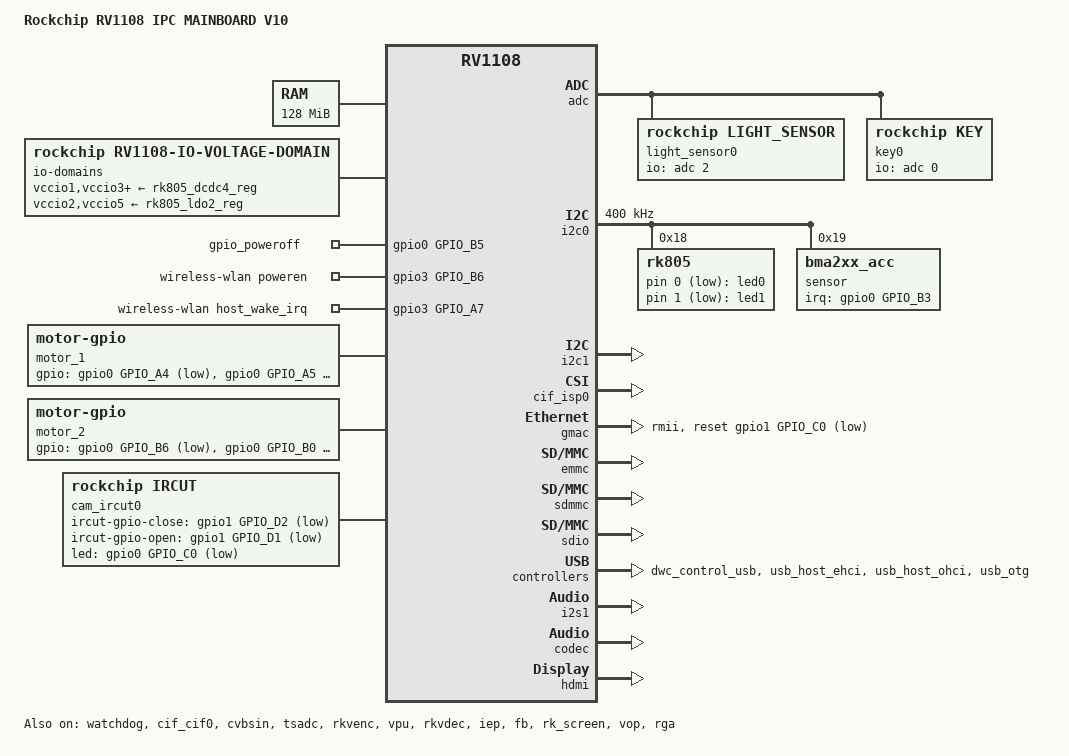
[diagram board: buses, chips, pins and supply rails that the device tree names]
/*
 * Copyright (c) 2016 Fuzhou Rockchip Electronics Co., Ltd
 *
 * This file is dual-licensed: you can use it either under the terms
 * of the GPL or the X11 license, at your option. Note that this dual
 * licensing only applies to this file, and not this project as a
 * whole.
 *
 *  a) This file is free software; you can redistribute it and/or
 *     modify it under the terms of the GNU General Public License as
 *     published by the Free Software Foundation; either version 2 of the
 *     License, or (at your option) any later version.
 *
 *     This file is distributed in the hope that it will be useful,
 *     but WITHOUT ANY WARRANTY; without even the implied warranty of
 *     MERCHANTABILITY or FITNESS FOR A PARTICULAR PURPOSE.  See the
 *     GNU General Public License for more details.
 *
 * Or, alternatively,
 *
 *  b) Permission is hereby granted, free of charge, to any person
 *     obtaining a copy of this software and associated documentation
 *     files (the "Software"), to deal in the Software without
 *     restriction, including without limitation the rights to use,
 *     copy, modify, merge, publish, distribute, sublicense, and/or
 *     sell copies of the Software, and to permit persons to whom the
 *     Software is furnished to do so, subject to the following
 *     conditions:
 *
 *     The above copyright notice and this permission notice shall be
 *     included in all copies or substantial portions of the Software.
 *
 *     THE SOFTWARE IS PROVIDED "AS IS", WITHOUT WARRANTY OF ANY KIND,
 *     EXPRESS OR IMPLIED, INCLUDING BUT NOT LIMITED TO THE WARRANTIES
 *     OF MERCHANTABILITY, FITNESS FOR A PARTICULAR PURPOSE AND
 *     NONINFRINGEMENT. IN NO EVENT SHALL THE AUTHORS OR COPYRIGHT
 *     HOLDERS BE LIABLE FOR ANY CLAIM, DAMAGES OR OTHER LIABILITY,
 *     WHETHER IN AN ACTION OF CONTRACT, TORT OR OTHERWISE, ARISING
 *     FROM, OUT OF OR IN CONNECTION WITH THE SOFTWARE OR THE USE OR
 *     OTHER DEALINGS IN THE SOFTWARE.
 */

/dts-v1/;

#include "rv1108.dtsi"
//#include "lcd-ili9806e_mipi.dtsi" /* dispaly board v10 v11 */
//#include "lcd-e555hbm2_mipi.dtsi" /* display board v20*/
//#include "lcd-ili9807_mipi.dtsi" /* display board v30 */
#include "lcd_dummy_mipi.dtsi" /* dummy mipi for rv1108 */
#include "dt-bindings/suspend/rockchip-pm.h"

/ {
	model = "Rockchip RV1108 IPC MAINBOARD V10";
	compatible = "rockchip,rv1108-ipc-v10", "rockchip,rv1108";

	memory {
		device_type = "memory";
		reg = <0x60000000 0x08000000>;
	};

	fiq-debugger {
		status = "okay";
		rockchip,serial-id = <2>;
		pinctrl-0 = <&uart2m0_xfer>;
	};

	rockchip_suspend: rockchip_suspend {
		rockchip,ctrbits = <
			(0
			|RKPM_CTR_GTCLKS
			|RKPM_CTR_PLLS
			/*|RKPM_CTR_ARMOFF_LPMD*/
			|RKPM_CTR_ARMLOGDP_LPMD
			/*|RKPM_CTR_IDLESRAM_MD*/
			|RKPM_CTR_DDR
			|RKPM_CTR_PMIC
			/*|RKPM_CTR_BUS_IDLE*/
			|RKPM_CTR_SYSCLK_32K
			)
			>;
		rockchip,pmic-suspend_gpios = <0>;
	};

	chosen {
		bootargs = "rockchip_jtag noinitrd root=/dev/mmcblk0p4 rootfstype=squashfs";
	};

	ion {
		compatible = "rockchip,ion";
		#address-cells = <1>;
		#size-cells = <0>;

		/* memory region for dsp pool, start from 0x62000000 */
		dsp {
			compatible = "rockchip,ion-heap";
			rockchip,ion_heap = <2>;
			reg = <0x62000000 0x100000>; /* 1MB@32M */
		};
		ion_cma: rockchip,ion-heap@4 { /* CMA HEAP */
			compatible = "rockchip,ion-heap";
			rockchip,ion_heap = <4>;
			reg = <0x00000000 0x04000000>; /* 64MB */
		};
		rockchip,ion-heap@0 { /* VMALLOC HEAP */
			compatible = "rockchip,ion-heap";
			rockchip,ion_heap = <0>;
		};
	};

	io-domains {
		compatible = "rockchip,rv1108-io-voltage-domain";
		rockchip,grf = <&grf>;
		rockchip,pmugrf = <&pmugrf>;

		/* GRF_IO_VSEL */
		status = "okay";
		vccio1-supply = <&rk805_dcdc4_reg>;
		vccio2-supply = <&rk805_ldo2_reg>;
		vccio3-supply = <&rk805_dcdc4_reg>;
		vccio5-supply = <&rk805_ldo2_reg>;

		/* PMU_GRF_IO_VSEL */
		pmu-supply = <&rk805_dcdc4_reg>;
	};

	/* pmic_sleep */
	gpio_poweroff {
		compatible = "gpio-poweroff";
		gpios = <&gpio0 GPIO_B5 GPIO_ACTIVE_HIGH>;
		status = "okay";
	};

	wireless-wlan {
		compatible = "wlan-platdata";
		wifi_chip_type = "rtl8723cs";
		sdio_vref = <0>;
		WIFI,poweren_gpio = <&gpio3 GPIO_B6 GPIO_ACTIVE_HIGH>;
		WIFI,host_wake_irq = <&gpio3 GPIO_A7 GPIO_ACTIVE_HIGH>;
		status = "okay";
	};

	rockchip_audio {
		compatible = "rockchip,rv1108-audio";
		dais {
			dai0 {
				audio-codec = <&codec>;
				audio-controller = <&i2s1>;
				format = "i2s";
			};
		};
	};

	motor_1 {
		compatible = "motor-gpio";
		gpios = <&gpio0 GPIO_A4 GPIO_ACTIVE_LOW>,
				<&gpio0 GPIO_A5 GPIO_ACTIVE_LOW>,
				<&gpio0 GPIO_A6 GPIO_ACTIVE_LOW>,
				<&gpio0 GPIO_A7 GPIO_ACTIVE_LOW>;
		rockchip,motor-id = <1>;
		status = "okay";
	};

	motor_2 {
		compatible = "motor-gpio";
		gpios = <&gpio0 GPIO_B6 GPIO_ACTIVE_LOW>,
				<&gpio0 GPIO_B0 GPIO_ACTIVE_LOW>,
				<&gpio0 GPIO_C3 GPIO_ACTIVE_LOW>,
				<&gpio0 GPIO_C5 GPIO_ACTIVE_LOW>;
		rockchip,motor-id = <2>;
		status = "okay";
	};

	ipc_leds {
		compatible = "gpio-leds";
		led0 {
			label = "led0";
			gpios = <&rk805 0 GPIO_ACTIVE_LOW>;
			default-state = "off";
		};
		led1 {
			label = "led1";
			gpios = <&rk805 1 GPIO_ACTIVE_LOW>;
			default-state = "off";
		};
	};
};

/*
 * clk_mac_pll can be selected from apll/gpll.
 *
 * to use one of these, we should modify
 * 'rockchip,clocks-init-parent' and
 * 'rockchip,clocks-init-rate' as follows:
 *
 * from apll:
 * 1, <&clk_mac_pll &clk_apll>;
 *
 * from gpll:
 * 1, <&clk_mac_pll &clk_gpll>;
 * 2, <&clk_gpll 1200000000>
 *
 * note:
 * if gpll use 1200Mhz, hdmi function is unable to used
 * and should be disabled.
 */
&rockchip_clocks_init {
	rockchip,clocks-init-parent =
		<&aclk_bus_pre &clk_gpll>, <&aclk_peri &clk_gpll>,
		<&clk_emmc &clk_gpll>, <&clk_sdio &clk_gpll>,
		<&hdmiphy &hdmiphy_pll>, <&usb480m &usbphy_480m>,
		<&clk_mac_pll &clk_apll>;
	rockchip,clocks-init-rate =
		<&clk_gpll 1188000000>, <&clk_core 800000000>,
		<&clk_dsp 396000000>, <&aclk_bus_pre 150000000>,
		<&hclk_bus_pre 150000000>, <&pclk_bus_pre 75000000>,
		<&aclk_peri 150000000>, <&hclk_peri 150000000>,
		<&pclk_peri 75000000>, <&aclk_vio0_pre 300000000>,
		<&aclk_vio1_pre 300000000>, <&hclk_vio_pre 75000000>,
		<&pclk_vio_pre 75000000>, <&aclk_rkvdec_pre 300000000>,
		<&aclk_vpu_pre 300000000>, <&clk_hevc_cabac 300000000>,
		<&clk_hevc_core 300000000>, <&aclk_rkvenc_pre 300000000>,
		<&clk_venc_core 300000000>, <&clk_crypto 150000000>,
		<&clk_nandc 150000000>, <&clk_i2s0_pll 594000000>,
		<&clk_i2s1_pll 594000000>, <&clk_i2s2_pll 594000000>,
		<&clk_uart0_pll 297000000>, <&clk_uart1_pll 297000000>,
		<&clk_uart2_pll 297000000>, <&clk_rga 300000000>;
};

&clk_core_dvfs_table {

	operating-points = <
		/* KHz	  uV */
		408000 1000000
		600000 1000000
		816000 1000000
		1008000 1150000
		>;
	status = "disabled";
};

&watchdog {
	status = "okay";
	rockchip,timeout = <5>;
	rockchip,atboot = <0>;
};

&adc {
	status = "okay";

	light_sensor0: light_sensor {
		compatible = "rockchip,light_sensor";
		io-channels = <&adc 2>;
	};

	key0 {
		compatible = "rockchip,key";
		io-channels = <&adc 0>;
		adc-drift = <45>;

		tab-key {
			linux,code = <15>;
			label = "tab";
			rockchip,adc_value = <685>;
		};

		enter-key {
			linux,code = <28>;
			label = "volume down";
			rockchip,adc_value = <802>;
		};

		up-key {
			linux,code = <103>;
			label = "up";
			rockchip,adc_value = <238>;
		};

		down-key {
			linux,code = <108>;
			label = "down";
			rockchip,adc_value = <353>;
		};

		left-key {
			linux,code = <105>;
			label = "left";
			rockchip,adc_value = <465>;
		};

		right-key {
			linux,code = <106>;
			label = "right";
			rockchip,adc_value = <109>;
		};

		menu-key {
			linux,code = <127>;
			label = "menu";
			rockchip,adc_value = <581>;
		};

		esc-key {
			linux,code = <1>;
			label = "esc";
			rockchip,adc_value = <1>;
		};
	};
};

&i2c0 {
	status = "okay";

	i2c-scl-rising-time-ns = <275>;
	i2c-scl-falling-time-ns = <16>;
	clock-frequency = <400000>;

	rk805: rk805@18 {
		reg = <0x18>;
		status = "okay";
	};

	sensor: sensor@19 {
		compatible = "bma2xx_acc";
		reg = <0x19>;
		type = <2>;
		irq-gpio = <&gpio0 GPIO_B3 IRQ_TYPE_LEVEL_HIGH>;
		irq_enable = <0>;
		poll_delay_ms = <30>;
		layout = <2>;
		status = "okay";
	};

	nvp6124: nvp6124@30 {
		status = "disabled";
		compatible = "rockchip,nvp";
		reg = <0x30>;
		device_type = "v4l2-i2c-subdev";
		/* 1 or 2 or 4 */
		channels = <4>;
		/* 1.8v or 3.3v */
		apio_vol = <3300>;
		/* PAL or NTSC */
		cvbs_mode = "PAL";
		reset-gpio = <&gpio3 GPIO_C6 GPIO_ACTIVE_LOW>;
		irq-gpio = <&gpio3 GPIO_D3 GPIO_ACTIVE_HIGH>;
		pinctrl-names = "default", "sleep";
		pinctrl-0 = <&cif_dvp_d2d9 &cif_dvp_clk_in>;
		pinctrl-1 = <&cif_dvp_d2d9_sleep &cif_dvp_clk_in_sleep>;
	};

	mpu6500: mpu6500@68 {
		status = "disabled";
		compatible = "invensense,mpu6500";
		reg = <0x68>;
		mpu-int_config = <0x10>;
		mpu-level_shifter = <0>;
		mpu-orientation = <1 0 0 0 1 0 0 0 1>;
		orientation-x= <1>;
		orientation-y= <1>;
		orientation-z= <0>;
		support-hw-poweroff = <1>;
		mpu-debug = <1>;
	};
};

&i2c1 {
	status = "okay";

//#include "rv1108-camb-v11.dtsi" /* camera board v11 */
//#include "rv1108-camb-v12.dtsi" /* camera board v12 */
#include "rv1108-camb-v13.dtsi" /* camera board v13 */
};

/ {
	cam_ircut0: cam_ircut {
		status = "okay";
		compatible = "rockchip,ircut";
		rockchip,ircut-gpio-close = <&gpio1 GPIO_D2 GPIO_ACTIVE_LOW>;
		rockchip,ircut-gpio-open  = <&gpio1 GPIO_D1 GPIO_ACTIVE_LOW>;
		rockchip,led              = <&gpio0 GPIO_C0 GPIO_ACTIVE_LOW>;
	};
};

&camera0 {
	rockchip,camera-ircut = <&cam_ircut0>;
	rockchip,camera-ls = <&light_sensor0>;
	rockchip,camera-ls-range = <0 700 800 1024>;
};

&camera1 {
	rockchip,camera-ircut = <&cam_ircut0>;
	rockchip,camera-ls = <&light_sensor0>;
	rockchip,camera-ls-range = <0 700 800 1024>;
};

&camera2 {
	rockchip,camera-ircut = <&cam_ircut0>;
	rockchip,camera-ls = <&light_sensor0>;
	rockchip,camera-ls-range = <0 700 800 1024>;
};

&cif1to4 {
	status = "disabled";
};

&cif_cif0 {
	rockchip,camera-modules-attached = <&nvp6124 &cvbsin>;
	status = "okay";
};

&cif_cif1 {
	rockchip,camera-modules-attached = <&nvp6124>;
	status = "disabled";
};

&cif_cif2 {
	rockchip,camera-modules-attached = <&nvp6124>;
	status = "disabled";
};

&cif_cif3 {
	rockchip,camera-modules-attached = <&nvp6124>;
	status = "disabled";
};

&cif_isp0 {
	rockchip,camera-modules-attached = <&camera0 &camera1 &camera2>;
	status = "okay";
};

&cvbsin {
	status = "okay";
};

&gmac_clkin {
	clock-frequency = <50000000>;
};

&gmac {
	status = "okay";

	/* pmu_regulator = "act_ldo5"; */
	/* power-gpio = <&gpio0 GPIO_A6 GPIO_ACTIVE_HIGH>; */
	reset-gpio = <&gpio1 GPIO_C0 GPIO_ACTIVE_LOW>;

	phy-mode = "rmii";
	clock_in_out = "output";
};

&emmc {
	clock-frequency = <50000000>;
	clock-freq-min-max = <400000 50000000>;
	supports-highspeed;
	supports-emmc;
	bootpart-no-access;
	supports-DDR_MODE;
	caps2-mmc-hs200;
	ignore-pm-notify;
	keep-power-in-suspend;
	status = "okay";
};

&sdmmc {
	clock-frequency = <50000000>;
	clock-freq-min-max = <200000 50000000>;
	supports-highspeed;
	supports-sd;
	broken-cd;
	card-detect-delay = <200>;
	ignore-pm-notify;
	keep-power-in-suspend;
	power-inverted;
	status = "okay";
};

&sdio {
	clock-frequency = <50000000>;
	clock-freq-min-max = <200000 50000000>;
	supports-highspeed;
	supports-sdio;
	ignore-pm-notify;
	keep-power-in-suspend;
	cap-sdio-irq;
	status = "okay";
};

&sfc {
	status = "disabled";
};

//#include "rv1108-rk805-v11.dtsi" /* rk805 v11 */
#include "rv1108-rk805-v12.dtsi" /* rk805 v12 */

&dwc_control_usb {
	rockchip,remote_wakeup;
	rockchip,usb_irq_wakeup;
	status = "okay";
};

&tsadc {
	status = "okay";
};

&usb_host_ehci {
	status = "okay";
};

&usb_host_ohci {
	status = "okay";
};

&usb_otg {
	rockchip,delay-en-diepint-nak-quirk;
	rockchip,high-bandwidth;
	status = "okay";
};

&rkvenc {
	status = "okay";
};

&vpu {
	status = "okay";
};

&rkvdec {
	status = "okay";
};

&iep {
	status = "okay";
};

&fb {
	status = "okay";
};

&rk_screen {
	status = "okay";
};

&vop {
	status = "okay";
	pinctrl-names = "default", "gpio";
	pinctrl-0 = <&lcdc_mipi_data>;
	pinctrl-1 = <&lcdc_mipi_gpio>;
	power_ctr: power_ctr {
		rockchip,debug = <0>;
		/*
		lcd_en: lcd_en {
			rockchip,power_type = <GPIO>;
			gpios = <&gpio3 GPIO_C4 GPIO_ACTIVE_HIGH>;
			rockchip,delay = <10>;
		};
		*/
	};
};

&rga {
	status = "okay";
};

&i2s1 {
	status = "okay";
};

&codec {
	spk_ctl_io = <&gpio0 GPIO_C4 GPIO_ACTIVE_HIGH>;
	rockchip,single-ended = <1>;
	status = "okay";
};

&hdmi {
	status = "okay";
	pinctrl-0 = <&hdmi_cec &i2c2m1_xfer &hdmi_hpd>;
};

&camera2 {
	rockchip,pwr-gpio = <&gpio1 GPIO_D0 GPIO_ACTIVE_HIGH>;
	rockchip,camera-module-name = "LA6271";
};
